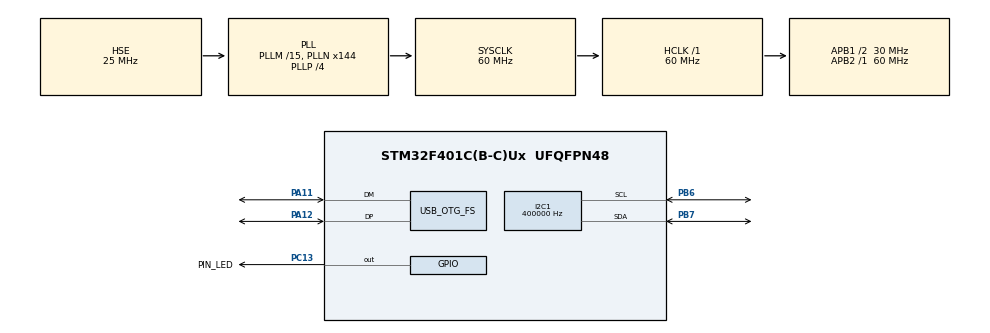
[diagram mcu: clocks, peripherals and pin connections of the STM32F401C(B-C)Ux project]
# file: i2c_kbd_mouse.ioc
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I2C1.ClockSpeed=400000
I2C1.I2C_Mode=I2C_Fast
I2C1.OwnAddress=1
Mcu.Family=STM32F4
Mcu.Name=STM32F401C(B-C)Ux
Mcu.Package=UFQFPN48
NVIC.I2C1_EV_IRQn=true\:0\:0\:false\:true\:true\:1\:true\:true\:true
NVIC.OTG_FS_IRQn=true\:0\:0\:false\:true\:true\:2\:true\:true\:true
NVIC.PriorityGroup=NVIC_PRIORITYGROUP_4
NVIC.RCC_IRQn=true\:0\:0\:false\:false\:true\:true\:false\:true
PA11.Mode=Device_Only
PA11.Signal=USB_OTG_FS_DM
PA12.Mode=Device_Only
PA12.Signal=USB_OTG_FS_DP
PB6.GPIO_Pu=GPIO_NOPULL
PB6.Mode=I2C
PB6.Signal=I2C1_SCL
PB7.GPIO_Pu=GPIO_NOPULL
PB7.Mode=I2C
PB7.Signal=I2C1_SDA
PC13-ANTI_TAMP.GPIO_Label=PIN_LED
PC13-ANTI_TAMP.GPIO_PuPd=GPIO_PULLDOWN
PC13-ANTI_TAMP.PinState=GPIO_PIN_SET
PC13-ANTI_TAMP.Signal=GPIO_Output
PH0\ -\ OSC_IN.Mode=HSE-External-Oscillator
PH0\ -\ OSC_IN.Signal=RCC_OSC_IN
PH1\ -\ OSC_OUT.Mode=HSE-External-Oscillator
PH1\ -\ OSC_OUT.Signal=RCC_OSC_OUT
ProjectManager.HeapSize=0x200
ProjectManager.StackSize=0x400
ProjectManager.TargetToolchain=STM32CubeIDE
RCC.48MHZClocksFreq_Value=48000000
RCC.AHBFreq_Value=60000000
RCC.APB1CLKDivider=RCC_HCLK_DIV2
RCC.APB1Freq_Value=30000000
RCC.APB1TimFreq_Value=60000000
RCC.APB2Freq_Value=60000000
RCC.APB2TimFreq_Value=60000000
RCC.CortexFreq_Value=60000000
RCC.HCLKFreq_Value=60000000
RCC.HSE_VALUE=25000000
RCC.HSI_VALUE=16000000
RCC.LSE_VALUE=32768
RCC.PLLM=15
RCC.PLLN=144
RCC.PLLP=RCC_PLLP_DIV4
RCC.PLLQ=5
RCC.SYSCLKFreq_VALUE=60000000
RCC.SYSCLKSource=RCC_SYSCLKSOURCE_PLLCLK
RCC.VCOOutputFreq_Value=240000000
USB_DEVICE.CLASS_NAME_FS=HID
USB_DEVICE.VirtualMode=Hid
USB_DEVICE.VirtualModeFS=Hid_FS
USB_OTG_FS.VirtualMode=Device_Only
VP_USB_DEVICE_VS_USB_DEVICE_HID_FS.Mode=HID_FS
board=custom

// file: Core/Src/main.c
/* USER CODE BEGIN Header */
/**
  ******************************************************************************
  * @file           : main.c
  * @brief          : Main program body
  ******************************************************************************
  * @attention
  *
  * Copyright (c) 2022 STMicroelectronics.
  * All rights reserved.
  *
  * This software is licensed under terms that can be found in the LICENSE file
  * in the root directory of this software component.
  * If no LICENSE file comes with this software, it is provided AS-IS.
  *
  ******************************************************************************
  */
/* USER CODE END Header */
#include "main.h"
#include "usb_device.h"

/* USER CODE BEGIN Includes */
#include "usbd_hid.h"
extern USBD_HandleTypeDef hUsbDeviceFS;
#define COUNTOF(__BUFFER__)   (sizeof(__BUFFER__) / sizeof(*(__BUFFER__)))
/* Size of Transmission buffer */
#define TXBUFFERSIZE                      (COUNTOF(aTxBuffer))
/* Size of Reception buffer */
#define RXBUFFERSIZE                      (COUNTOF(aRxBuffer))
/* USER CODE END Includes */

/* USER CODE BEGIN PTD */
__IO uint32_t     Transfer_Direction = 0;
__IO uint32_t     Xfer_Complete = 0;
#define NOKEY 0
#define L_CONTROL 0x81
#define L_SHIFT 0x82
#define L_ALT 0x84
#define L_META 0x88
#define R_CONTROL 0x90
#define R_SHIFT 0xA0
#define R_ALT 0xC0
#define R_META 0x80

struct gameport_kb_data {
	uint8_t magic;
	uint8_t key;
	uint8_t pressed;
};

/**
 * USB HID Keyboard scan codes as per USB spec 1.11
 * plus some additional codes
 *
 * Created by MightyPork, 2016
 * Public domain
 *
 * Adapted from:
 * https://source.android.com/devices/input/keyboard-devices.html
 */

/**
 * Scan codes - last N slots in the HID report (usually 6).
 * 0x00 if no key pressed.
 *
 * If more than N keys are pressed, the HID reports
 * KEY_ERR_OVF in all slots to indicate this condition.
 */

/* USER CODE END PTD */

/* USER CODE BEGIN PD */
/* Buffer used for transmission */
uint8_t aTxBuffer[4];

/* Buffer used for reception */
uint8_t aRxBuffer[32];

/* Keyboard state */
typedef struct
{
	uint8_t MODIFIER;
	uint8_t RESERVED;
	uint8_t KEYCODE1;
	uint8_t KEYCODE2;
	uint8_t KEYCODE3;
	uint8_t KEYCODE4;
	uint8_t KEYCODE5;
	uint8_t KEYCODE6;
}subKeyBoard;

subKeyBoard keyBoardHIDsub = {0,0,0,0,0,0,0,0};

uint8_t buttons[255] = { 0 };
uint32_t debounce[255] = { 0 };
uint8_t USBReport[9] = { 0 };
uint8_t lastUSBReport[9] = { 0 };
uint8_t modifier = 0;
/* USER CODE END PD */

I2C_HandleTypeDef hi2c1;

/* USER CODE BEGIN PV */
uint8_t rxBuffer[64];
/* USER CODE END PV */

void SystemClock_Config(void);
static void MX_GPIO_Init(void);
static void MX_I2C1_Init(void);
static void MX_NVIC_Init(void);

/* USER CODE BEGIN 0 */
void pressReleaseButton(uint8_t button, uint8_t pressed)
{
	if ( pressed )
	{
	  if (!buttons[button])
	  {
		buttons[button] = 1;
		debounce[button] = HAL_GetTick();
		if (button & 0x80) //Modifier key
		{
			uint8_t modifierKey = button & 0x7F;
			if (modifierKey == 0)
				modifierKey = 0x80;
			USBReport[0] |= modifierKey;
		}
		else
		{
			for (int k=3;k<8;k++)
			{
				if (USBReport[k] == 0)
				{
					USBReport[k] = button;
					break;
				}
			}
		}
	  }
	}
	else
	{
	  if (buttons[button])
	  {
		buttons[button] = 0;
		debounce[button] = HAL_GetTick();
		if (button & 0x80) //Modifier key
		{
			uint8_t modifierKey = button & 0x7F;
			if (modifierKey == 0)
				modifierKey = 0x80;
			USBReport[0] ^= modifierKey;
		}
		else
		{
			for (int k=2;k<8;k++)
			{
				if (USBReport[k] == button)
				{
					for (int l=k;l<7;l++)
					{
						USBReport[l] = USBReport[l+1];
					}
					USBReport[7] = 0;
				}
			}
		}
	  }
	}
	if (memcmp(USBReport,lastUSBReport,8) != 0)
	{
		//USBReport[0] = 2;
		memcpy(lastUSBReport,USBReport,8);
		USBD_HID_SendReport(&hUsbDeviceFS, USBReport, 8);

	}
}
/* USER CODE END 0 */

int main(void)
{

  /* MCU Configuration--------------------------------------------------------*/

  /* Reset of all peripherals, Initializes the Flash interface and the Systick. */
  HAL_Init();

  /* USER CODE BEGIN Init */
  HAL_GPIO_TogglePin(GPIOC, GPIO_PIN_13);
  HAL_GPIO_TogglePin(GPIOC, GPIO_PIN_13);
  /* USER CODE END Init */

  /* Configure the system clock */
  SystemClock_Config();

  /* Initialize all configured peripherals */
  MX_GPIO_Init();
  MX_I2C1_Init();
  MX_USB_DEVICE_Init();

  /* Initialize interrupts */
  MX_NVIC_Init();
  /* USER CODE BEGIN 2 */
  if(HAL_I2C_EnableListen_IT(&hi2c1) != HAL_OK)
  {
    /* Transfer error in reception process */
    Error_Handler();
  }
  /* USER CODE END 2 */

  /* Infinite loop */
  /* USER CODE BEGIN WHILE */
  while (1)
  {
	  if (Xfer_Complete)
	  {
	   if(HAL_I2C_EnableListen_IT(&hi2c1) != HAL_OK)
	   {
		 /* Transfer error in reception process */
		 //Error_Handler();
		   HAL_GPIO_TogglePin(GPIOC, GPIO_PIN_13);
	   }
	   Xfer_Complete = 0;
	  }

    /* USER CODE END WHILE */

  }
}

void SystemClock_Config(void)
{
  RCC_OscInitTypeDef RCC_OscInitStruct = {0};
  RCC_ClkInitTypeDef RCC_ClkInitStruct = {0};

  /** Configure the main internal regulator output voltage
  */
  __HAL_RCC_PWR_CLK_ENABLE();
  __HAL_PWR_VOLTAGESCALING_CONFIG(PWR_REGULATOR_VOLTAGE_SCALE2);

  /** Initializes the RCC Oscillators according to the specified parameters
  * in the RCC_OscInitTypeDef structure.
  */
  RCC_OscInitStruct.OscillatorType = RCC_OSCILLATORTYPE_HSE;
  RCC_OscInitStruct.HSEState = RCC_HSE_ON;
  RCC_OscInitStruct.PLL.PLLState = RCC_PLL_ON;
  RCC_OscInitStruct.PLL.PLLSource = RCC_PLLSOURCE_HSE;
  RCC_OscInitStruct.PLL.PLLM = 15;
  RCC_OscInitStruct.PLL.PLLN = 144;
  RCC_OscInitStruct.PLL.PLLP = RCC_PLLP_DIV4;
  RCC_OscInitStruct.PLL.PLLQ = 5;
  if (HAL_RCC_OscConfig(&RCC_OscInitStruct) != HAL_OK)
  {
    Error_Handler();
  }

  /** Initializes the CPU, AHB and APB buses clocks
  */
  RCC_ClkInitStruct.ClockType = RCC_CLOCKTYPE_HCLK|RCC_CLOCKTYPE_SYSCLK
                              |RCC_CLOCKTYPE_PCLK1|RCC_CLOCKTYPE_PCLK2;
  RCC_ClkInitStruct.SYSCLKSource = RCC_SYSCLKSOURCE_PLLCLK;
  RCC_ClkInitStruct.AHBCLKDivider = RCC_SYSCLK_DIV1;
  RCC_ClkInitStruct.APB1CLKDivider = RCC_HCLK_DIV2;
  RCC_ClkInitStruct.APB2CLKDivider = RCC_HCLK_DIV1;

  if (HAL_RCC_ClockConfig(&RCC_ClkInitStruct, FLASH_LATENCY_1) != HAL_OK)
  {
    Error_Handler();
  }
}

/**
  * @brief NVIC Configuration.
  * @retval None
  */
static void MX_NVIC_Init(void)
{
  /* I2C1_EV_IRQn interrupt configuration */
  HAL_NVIC_SetPriority(I2C1_EV_IRQn, 0, 0);
  HAL_NVIC_EnableIRQ(I2C1_EV_IRQn);
  /* OTG_FS_IRQn interrupt configuration */
  HAL_NVIC_SetPriority(OTG_FS_IRQn, 0, 0);
  HAL_NVIC_EnableIRQ(OTG_FS_IRQn);
}

static void MX_I2C1_Init(void)
{

  hi2c1.Instance = I2C1;
  hi2c1.Init.ClockSpeed = 400000;
  hi2c1.Init.DutyCycle = I2C_DUTYCYCLE_2;
  hi2c1.Init.OwnAddress1 = 2;
  hi2c1.Init.AddressingMode = I2C_ADDRESSINGMODE_7BIT;
  hi2c1.Init.DualAddressMode = I2C_DUALADDRESS_DISABLE;
  hi2c1.Init.OwnAddress2 = 0;
  hi2c1.Init.GeneralCallMode = I2C_GENERALCALL_DISABLE;
  hi2c1.Init.NoStretchMode = I2C_NOSTRETCH_DISABLE;
  if (HAL_I2C_Init(&hi2c1) != HAL_OK)
  {
    Error_Handler();
  }

}

static void MX_GPIO_Init(void)
{
  GPIO_InitTypeDef GPIO_InitStruct = {0};

  /* GPIO Ports Clock Enable */
  __HAL_RCC_GPIOC_CLK_ENABLE();
  __HAL_RCC_GPIOH_CLK_ENABLE();
  __HAL_RCC_GPIOA_CLK_ENABLE();
  __HAL_RCC_GPIOB_CLK_ENABLE();

  /*Configure GPIO pin Output Level */
  HAL_GPIO_WritePin(PIN_LED_GPIO_Port, PIN_LED_Pin, GPIO_PIN_SET);

  /*Configure GPIO pin : PIN_LED_Pin */
  GPIO_InitStruct.Pin = PIN_LED_Pin;
  GPIO_InitStruct.Mode = GPIO_MODE_OUTPUT_PP;
  GPIO_InitStruct.Pull = GPIO_PULLDOWN;
  GPIO_InitStruct.Speed = GPIO_SPEED_FREQ_LOW;
  HAL_GPIO_Init(PIN_LED_GPIO_Port, &GPIO_InitStruct);

}

/* USER CODE BEGIN 4 */
/**
  * @brief  Tx Transfer completed callback.
  * @param  I2cHandle: I2C handle.
  * @note   This example shows a simple way to report end of IT Tx transfer, and
  *         you can add your own implementation.
  * @retval None
  */

void HAL_I2C_SlaveTxCpltCallback(I2C_HandleTypeDef *I2cHandle)
{
  /* Toggle LED4: Transfer in transmission process is correct */

  Xfer_Complete = 1;
  aTxBuffer[0]++;
  aTxBuffer[1]++;
  aTxBuffer[2]++;
  aTxBuffer[3]++;
  HAL_GPIO_TogglePin(GPIOC, GPIO_PIN_13);
}

/**
  * @brief  Rx Transfer completed callback.
  * @param  I2cHandle: I2C handle
  * @note   This example shows a simple way to report end of IT Rx transfer, and
  *         you can add your own implementation.
  * @retval None
  */
void HAL_I2C_SlaveRxCpltCallback(I2C_HandleTypeDef *I2cHandle)
{
  /* Toggle LED4: Transfer in reception process is correct */
  if (aRxBuffer[0] == 'k') // Keyboard
  {
	  struct gameport_kb_data *data = (struct gameport_kb_data*)aRxBuffer;
	  pressReleaseButton(data->key, data->pressed);
  }
  else if (aRxBuffer[0] == 'm') // Mouse
  {

  }
  //printf("Received: %s\n",aRxBuffer);
  Xfer_Complete = 1;
}

/**
  * @brief  Slave Address Match callback.
  * @param  hi2c Pointer to a I2C_HandleTypeDef structure that contains
  *                the configuration information for the specified I2C.
  * @param  TransferDirection: Master request Transfer Direction (Write/Read), value of @ref I2C_XferOptions_definition
  * @param  AddrMatchCode: Address Match Code
  * @retval None
  */
void HAL_I2C_AddrCallback(I2C_HandleTypeDef *hi2c, uint8_t TransferDirection, uint16_t AddrMatchCode)
{
	//HAL_GPIO_TogglePin(GPIOC, GPIO_PIN_13);
  Transfer_Direction = TransferDirection;
  if (Transfer_Direction == 0)
  {
     /*##- Start the transmission process #####################################*/
  /* While the I2C in reception process, user can transmit data through
     "aTxBuffer" buffer */
  if (HAL_I2C_Slave_Seq_Transmit_IT(&hi2c1, (uint8_t *)aTxBuffer, 4, I2C_FIRST_AND_LAST_FRAME) != HAL_OK)

    {
    /* Transfer error in transmission process */
    Error_Handler();
  }
  else
  {

  }

  }
  else
  {

      /*##- Put I2C peripheral in reception process ###########################*/
  if (HAL_I2C_Slave_Seq_Receive_IT(&hi2c1, (uint8_t *)aRxBuffer, sizeof(struct gameport_kb_data), I2C_FIRST_AND_LAST_FRAME) != HAL_OK)
    {
    /* Transfer error in reception process */
    Error_Handler();
  }
  else
  {
	  HAL_I2C_SlaveRxCpltCallback(&hi2c1);
	  HAL_I2C_EnableListen_IT(&hi2c1);
  }

  }

}

/**
  * @brief  Listen Complete callback.
  * @param  hi2c Pointer to a I2C_HandleTypeDef structure that contains
  *                the configuration information for the specified I2C.
  * @retval None
  */
void HAL_I2C_ListenCpltCallback(I2C_HandleTypeDef *hi2c)
{
}

/**
  * @brief  I2C error callbacks.
  * @param  I2cHandle: I2C handle
  * @note   This example shows a simple way to report transfer error, and you can
  *         add your own implementation.
  * @retval None
  */
void HAL_I2C_ErrorCallback(I2C_HandleTypeDef *I2cHandle)
{
  /** Error_Handler() function is called when error occurs.
    * 1- When Slave doesn't acknowledge its address, Master restarts communication.
    * 2- When Master doesn't acknowledge the last data transferred, Slave doesn't care in this example.
    */
  if (HAL_I2C_GetError(I2cHandle) != HAL_I2C_ERROR_AF)
  {
    Error_Handler();
  }
}
/* USER CODE END 4 */

void Error_Handler(void)
{
  /* USER CODE BEGIN Error_Handler_Debug */
  /* User can add his own implementation to report the HAL error return state */
  __disable_irq();
  while (1)
  {
	  HAL_GPIO_TogglePin(GPIOC, GPIO_PIN_13);
  }
  /* USER CODE END Error_Handler_Debug */
}
